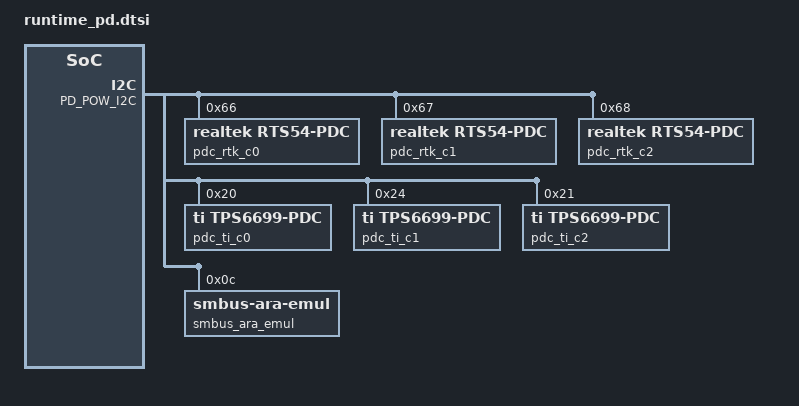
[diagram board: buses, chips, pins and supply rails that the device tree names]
/* Copyright 2026 The ChromiumOS Authors
 * Use of this source code is governed by a BSD-style license that can be
 * found in the LICENSE file.
 */

#include <dt-bindings/gpio_defines.h>

/* typec-aic1-power */
&PD_POW_I2C {
	pdc_rtk_c0: rts54-pdc@66 {
		compatible = "realtek,rts54-pdc";
		reg = <0x66>;
		zephyr,deferred-init;
		irq-gpios = <PD_POW_IRQ_GPIO GPIO_ACTIVE_LOW>;
		ccd;
	};
	pdc_rtk_c1: rts54-pdc@67 {
		compatible = "realtek,rts54-pdc";
		reg = <0x67>;
		zephyr,deferred-init;
		irq-gpios = <PD_POW_IRQ_GPIO GPIO_ACTIVE_LOW>;
		no-fw-update;
	};
	pdc_rtk_c2: rts54-pdc@68 {
		compatible = "realtek,rts54-pdc";
		reg = <0x68>;
		zephyr,deferred-init;
		irq-gpios = <PD_POW_IRQ_GPIO GPIO_ACTIVE_LOW>;
	};
	pdc_ti_c0: tps6699-pdc@20 {
		compatible = "ti,tps6699-pdc";
		reg = <0x20>;
		port-index-on-chip = <0x1>;
		ccd;
		zephyr,deferred-init;
		irq-gpios = <PD_POW_IRQ_GPIO GPIO_ACTIVE_LOW>;
		frs-supported;
	};
	pdc_ti_c1: tps6699-pdc@24 {
		compatible = "ti,tps6699-pdc";
		reg = <0x24>;
		port-index-on-chip = <0x2>;
		zephyr,deferred-init;
		irq-gpios = <PD_POW_IRQ_GPIO GPIO_ACTIVE_LOW>;
		frs-supported;
	};
	pdc_ti_c2: tps6699-pdc@21 {
		compatible = "ti,tps6699-pdc";
		reg = <0x21>;
		port-index-on-chip = <0x1>;
		zephyr,deferred-init;
		irq-gpios = <PD_POW_IRQ_GPIO GPIO_ACTIVE_LOW>;
		frs-supported;
	};
	smbus_ara_emul: smbus_ara@c {
		compatible = "zephyr,smbus-ara-emul";
		reg = <0xc>;
	};
};

&gpio_pdc_pow_irq {
	no-auto-init;
};
